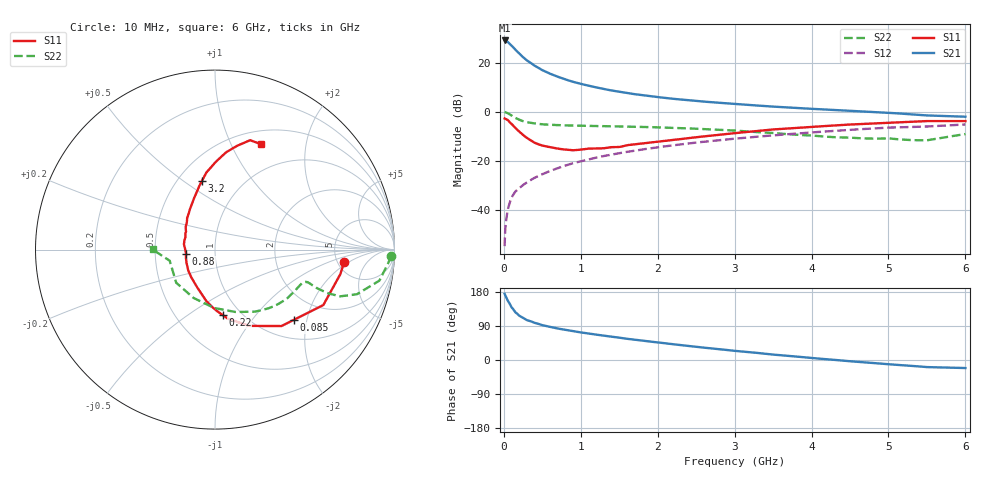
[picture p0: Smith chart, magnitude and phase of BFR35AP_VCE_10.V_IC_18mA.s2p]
! Infineon Technologies  Discrete & RF Semiconductors
! BFR35AP
! VCE =  10. V,  IC =  18 mA
! Common Emitter S-Parameters:  Nov 2015
# GHz  S  MA  R  50
!  f  S11  S21  S12  S22
! GHz  MAG  ANG  MAG  ANG  MAG  ANG  MAG  ANG
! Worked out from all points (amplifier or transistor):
!   210 points, 10 MHz to 6 GHz, reference 50 ohm
!   highest |S21| = 29.0 dB at 10 MHz (marker M1)
!   |S21| within 3 dB of that: start of sweep to 127.6 MHz
!   unconditionally stable (mu >= 1): 480.9 MHz to 2.689 GHz
!   at 185 MHz: K = 0.66, MSG = 27.9 dB, |S12| = -31.6 dB
!   at 1.52 GHz: K = 1.09, MAG = 10.6 dB, |S12| = -16.9 dB
!   at 6 GHz: K = 0.88, MSG = 1.6 dB, |S12| = -5.3 dB
!   S11 on the Smith chart (normalised r, x): 10 MHz: 5.74, -1.63; 85 MHz: 1.40, -1.68; 220 MHz: 0.82, -0.69; 880 MHz: 0.72, -0.03; 3.2 GHz: 0.65, +0.59; 6 GHz: 0.65, +1.30
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0.01  0.7228 -5.4  28.23 174.6  0.0018 91.1  0.9824 -2.1
0.02  0.712 -11.0  27.7 169.9  0.0042 83.9  0.9677 -4.5
0.05  0.678 -27.1  26.48 157.0  0.0097 78.3  0.9319 -10.7
0.085  0.5887 -41.6  23.34 145.2  0.0152 72.6  0.8591 -15.2
0.1  0.5644 -49.0  22.36 139.2  0.0176 71.3  0.8298 -17.4
0.15  0.4656 -65.9  18.31 125.8  0.0234 66.2  0.7437 -20.5
0.2  0.3914 -79.5  15.27 117.0  0.0274 65.4  0.6796 -21.1
0.22  0.3664 -83.4  14.27 114.6  0.0292 65.4  0.662 -21.1
0.26  0.3238 -92.0  12.47 109.5  0.0327 65.7  0.6299 -20.9
0.3  0.2908 -99.5  11.07 105.3  0.0358 66.7  0.6069 -20.7
0.4  0.2317 -115.6  8.626 98.1  0.0447 67.7  0.5718 -19.9
0.5  0.2031 -130.7  7.004 91.9  0.0528 68.9  0.5499 -19.4
0.6  0.1885 -142.5  5.934 87.3  0.0614 69.2  0.5383 -19.5
0.88  0.1634 -171.7  4.135 76.7  0.0867 69.4  0.5196 -21.2
1.02  0.169 176.0  3.613 72.3  0.0986 69.1  0.5144 -22.6
1.4  0.1881 151.5  2.694 61.5  0.1327 67.1  0.5015 -27.3
2.02  0.245 127.2  1.96 46.0  0.1886 62.1  0.4758 -37.0
3.1  0.376 102.4  1.396 22.4  0.2895 51.2  0.3996 -60.0
3.2  0.3895 100.7  1.361 20.5  0.2987 50.0  0.3897 -62.8
4.1  0.4987 88.3  1.117 3.6  0.3853 39.8  0.3152 -95.0
5.1  0.6012 76.7  0.924 -12.6  0.4752 25.8  0.2749 -144.4
6  0.6406 66.6  0.786 -21.2  0.5459 14.9  0.348 179.9
